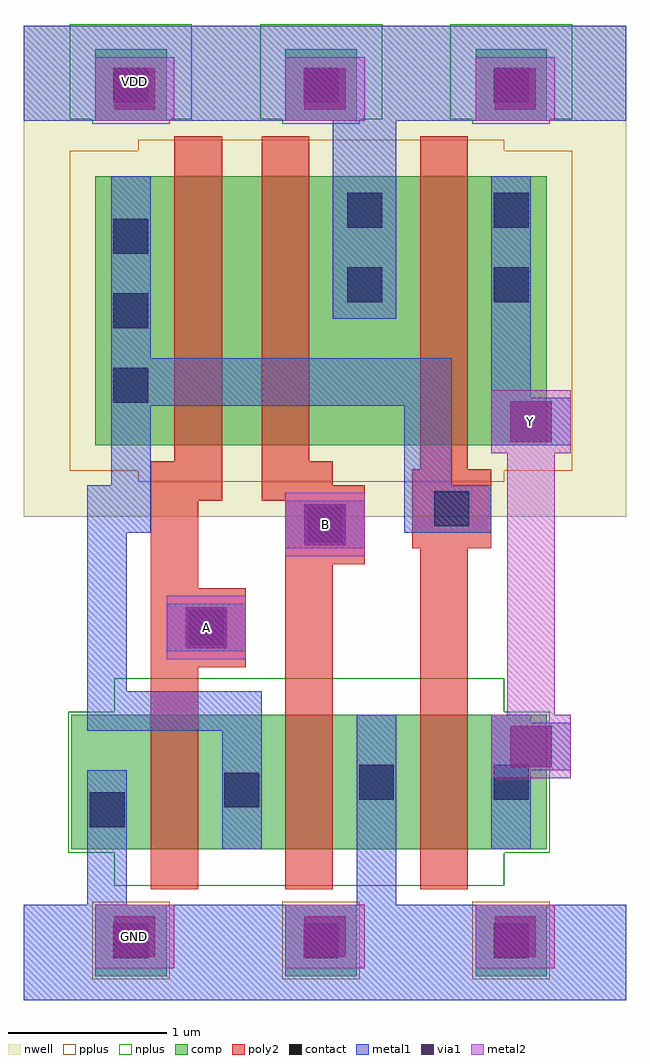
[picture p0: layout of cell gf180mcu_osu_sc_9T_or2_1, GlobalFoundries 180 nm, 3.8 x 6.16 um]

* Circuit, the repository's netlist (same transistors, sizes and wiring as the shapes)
* NGSPICE file created from gf180mcu_osu_sc_9T_or2_1.ext - technology: gf180mcuC

.inc "/import/yukari1/lrburle/globalfoundries-pdk-libs-gf180mcu_osu_sc/char/techfiles/design.hspice"
.lib "/import/yukari1/lrburle/globalfoundries-pdk-libs-gf180mcu_osu_sc/char/techfiles/sm141064.hspice" typical

X0 VDD B a_25_70# VDD pmos_3p3 w=1.7u l=0.3u
X1 Y a_9_70# GND GND nmos_3p3 w=0.85u l=0.3u
X2 a_9_70# A GND GND nmos_3p3 w=0.85u l=0.3u
X3 a_25_70# A a_9_70# VDD pmos_3p3 w=1.7u l=0.3u
X4 Y a_9_70# VDD VDD pmos_3p3 w=1.7u l=0.3u
X5 GND B a_9_70# GND nmos_3p3 w=0.85u l=0.3u

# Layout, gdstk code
import gdstk
lib = gdstk.Library(unit=1e-6, precision=1e-09)
def R(c, l, rs):  # rectangles x0, y0, x1, y1
    for r in rs: c.add(gdstk.rectangle(r[:2], r[2:], *l))
def A(c, l, x, y, w, h, nx, ny, dx, dy):  # array of equal rectangles
    R(c, l, [(x+i*dx, y+j*dy, x+i*dx+w, y+j*dy+h) for i in range(nx) for j in range(ny)])
nwell = (21, 0)
comp = (22, 0)
poly2 = (30, 0)
pplus = (31, 0)
nplus = (32, 0)
contact = (33, 0)
metal1 = (34, 0)
via1 = (35, 0)
metal2 = (36, 0)

gf180mcu_osu_sc_9t_or2_1 = lib.new_cell('gf180mcu_osu_sc_9T_or2_1')
R(gf180mcu_osu_sc_9t_or2_1, nwell, [(0,3.05,3.8,6.15)])
A(gf180mcu_osu_sc_9t_or2_1, comp, 0.45, 0.15, 0.45, 0.45, 3, 2, 1.2, 5.4)
R(gf180mcu_osu_sc_9t_or2_1, comp, [(0.3,0.95,3.3,1.8), (0.45,3.5,3.3,5.2)])
R(gf180mcu_osu_sc_9t_or2_1, poly2, [(0.8,0.7,1.1,2.1), (1.65,0.7,1.95,2.75), (2.5,0.7,2.8,2.85), (0.8,2.1,1.4,2.6), (0.8,2.6,1.1,3.15), (1.65,2.75,2.15,3.15), (2.45,2.85,2.95,3.35), (0.8,3.15,1.25,3.4), (1.5,3.15,2.15,3.25), (1.5,3.25,1.95,3.4), (2.5,3.35,2.8,5.45), (0.95,3.4,1.25,5.45), (1.5,3.4,1.8,5.45)])
A(gf180mcu_osu_sc_9t_or2_1, pplus, 0.43, 0.13, 0.49, 0.49, 3, 1, 1.2, 0)
R(gf180mcu_osu_sc_9t_or2_1, pplus, [(0.72,3.27,3.03,3.34), (0.29,3.34,3.46,5.36), (0.72,5.36,3.03,5.43)])
A(gf180mcu_osu_sc_9t_or2_1, nplus, 0.43, 5.53, 0.49, 0.03, 3, 1, 1.2, 0)
A(gf180mcu_osu_sc_9t_or2_1, nplus, 0.29, 5.56, 0.77, 0.6, 3, 1, 1.2, 0)
R(gf180mcu_osu_sc_9t_or2_1, nplus, [(0.57,0.72,3.03,0.93), (0.28,0.93,3.32,1.82), (0.57,1.82,3.03,2.03)])
A(gf180mcu_osu_sc_9t_or2_1, contact, 0.565, 0.265, 0.22, 0.22, 3, 2, 1.2, 5.4)
A(gf180mcu_osu_sc_9t_or2_1, contact, 0.565, 3.77, 0.22, 0.22, 1, 3, 0, 0.47)
R(gf180mcu_osu_sc_9t_or2_1, contact, [(0.415,1.09,0.635,1.31), (1.265,1.215,1.485,1.435), (2.115,1.265,2.335,1.485), (2.965,1.265,3.185,1.485), (1.04,2.24,1.26,2.46), (1.79,2.89,2.01,3.11), (2.59,2.99,2.81,3.21), (2.04,4.405,2.26,4.625), (2.965,4.405,3.185,4.625), (2.04,4.875,2.26,5.095), (2.965,4.875,3.185,5.095)])
R(gf180mcu_osu_sc_9t_or2_1, metal1, [(0,0,3.8,0.6), (0.4,0.6,0.65,1.45), (2.1,0.6,2.35,1.8), (1.25,0.95,1.5,1.7), (2.95,0.95,3.2,1.45), (2.95,1.45,3.45,1.75), (0.4,1.7,1.5,1.95), (2.95,1.75,3.2,1.8), (0.4,1.95,0.65,2.95), (0.9,2.2,1.4,2.5), (1.65,2.85,2.15,3.15), (0.4,2.95,0.8,3.25), (2.4,2.95,2.95,3.25), (0.55,3.25,0.8,3.75), (2.4,3.25,2.7,3.75), (2.95,3.5,3.45,3.8), (0.55,3.75,2.7,4.05), (2.95,3.8,3.2,5.2), (0.55,4.05,0.8,5.2), (1.95,4.3,2.35,5.55), (0,5.55,3.8,6.15)])
A(gf180mcu_osu_sc_9t_or2_1, via1, 0.57, 0.27, 0.26, 0.26, 3, 2, 1.2, 5.35)
R(gf180mcu_osu_sc_9t_or2_1, via1, [(3.07,1.47,3.33,1.73), (1.02,2.22,1.28,2.48), (1.77,2.87,2.03,3.13), (3.07,3.52,3.33,3.78)])
A(gf180mcu_osu_sc_9t_or2_1, metal2, 0.45, 0.2, 0.5, 0.4, 3, 2, 1.2, 5.35)
R(gf180mcu_osu_sc_9t_or2_1, metal2, [(2.95,1.4,3.45,1.8), (3.05,1.8,3.35,3.45), (0.9,2.15,1.4,2.55), (1.65,2.8,2.15,3.2), (2.95,3.45,3.45,3.85)])
gf180mcu_osu_sc_9t_or2_1.add(gdstk.Label('VDD', (0.7,5.8), layer=36, texttype=0))
gf180mcu_osu_sc_9t_or2_1.add(gdstk.Label('GND', (0.7,0.4), layer=36, texttype=0))
gf180mcu_osu_sc_9t_or2_1.add(gdstk.Label('B', (1.9,3), layer=36, texttype=10))
gf180mcu_osu_sc_9t_or2_1.add(gdstk.Label('A', (1.15,2.35), layer=36, texttype=10))
gf180mcu_osu_sc_9t_or2_1.add(gdstk.Label('Y', (3.2,3.65), layer=36, texttype=10))

lib.write_gds('gf180mcu_osu_sc_9T_or2_1.gds')
